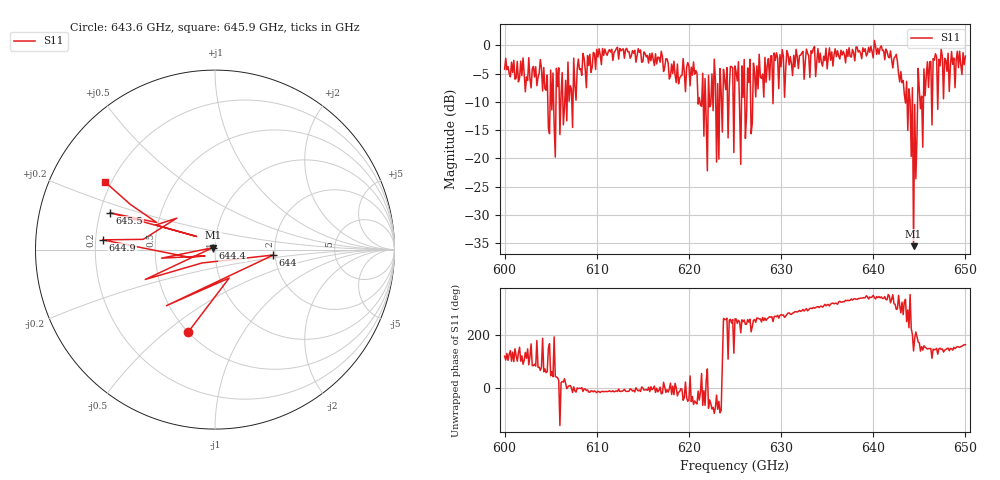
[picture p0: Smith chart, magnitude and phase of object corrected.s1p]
!Created with skrf (http://scikit-rf.org).
# GHz S MA R 50.0
!freq magS11 angS11
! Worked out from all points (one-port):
!   401 points, 600 GHz to 650 GHz, reference 50 ohm
!   lowest |S11| = -35.5 dB at 644.4 GHz (marker M1), VSWR 1.03, Z = 48.7 + j1.02 ohm
!   |S11| at or under -10 dB: 604.6884 GHz to 604.9374 GHz (249 MHz wide, 0.0412 % of centre); 605.3197 GHz to 605.5777 GHz (258 MHz wide, 0.0426 % of centre); 644.2612 GHz to 644.8132 GHz (551.9 MHz wide, 0.0856 % of centre) (the widest 3 of 30)
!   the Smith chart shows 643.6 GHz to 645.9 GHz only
!   S11 on the Smith chart (normalised r, x): 643.6 GHz: 0.50, -0.60; 644 GHz: 1.96, -0.13; 644.4 GHz: 0.97, +0.02; 644.9 GHz: 0.23, +0.04; 645.5 GHz: 0.24, +0.16; 645.9 GHz: 0.18, +0.27
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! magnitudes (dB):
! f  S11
! 600 GHz  -4.2
! 604 GHz  -4.0
! 604.6 GHz  -5.2
! 605.9 GHz  -4.0
! 606.2 GHz  -4.8
! 608.2 GHz  -4.1
! 612.5 GHz  -0.5
! 618.8 GHz  -3.3
! 620.6 GHz  -5.1
! 621.9 GHz  -13.1
! 622.6 GHz  -11.6
! 623.2 GHz  -20.1
! 623.6 GHz  -15.3
! 625 GHz  -3.6
! 625.2 GHz  -6.3
! 625.9 GHz  -9.2
! 628.8 GHz  -6.1
! 631.2 GHz  -5.3
! 637.5 GHz  -2.0
! 641.6 GHz  -1.9
! 643.6 GHz  -6.3
! 643.8 GHz  -15.0
! 644 GHz  -9.7
! 644.4 GHz  -35.5
! 644.9 GHz  -4.0
! 645.5 GHz  -4.1
! 645.9 GHz  -2.9
! 650 GHz  -1.9
